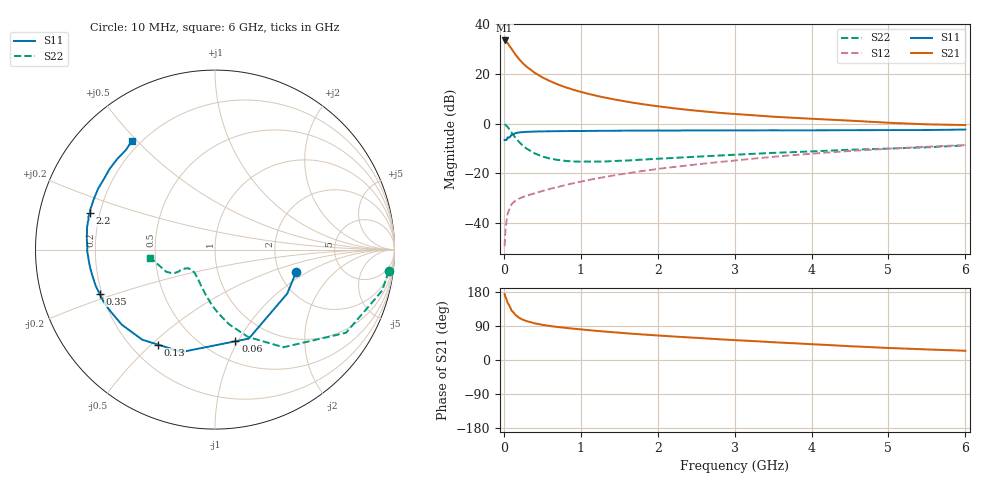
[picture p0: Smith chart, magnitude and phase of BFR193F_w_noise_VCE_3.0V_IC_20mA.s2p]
! Infineon Technologies  Discrete & RF Semiconductors
! BFR193F
! VCE =  3.0 V,  IC =  20 mA
! Common Emitter S-Parameters:  Jan 2017
# GHz  S  MA  R  50
!  f  S11  S21  S12  S22
! GHz  MAG  ANG  MAG  ANG  MAG  ANG  MAG  ANG
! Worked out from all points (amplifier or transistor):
!   77 points, 10 MHz to 6 GHz, reference 50 ohm
!   highest |S21| = 33.5 dB at 10 MHz (marker M1)
!   |S21| within 3 dB of that: start of sweep to 90.93 MHz
!   unconditionally stable (mu >= 1): 1.24 GHz to 2.799 GHz
!   at 130 MHz: K = 0.30, MSG = 30.2 dB, |S12| = -31.6 dB
!   at 2.2 GHz: K = 1.03, MAG = 10.8 dB, |S12| = -17.5 dB
!   at 6 GHz: K = 0.86, MSG = 4.0 dB, |S12| = -8.6 dB
!   lowest NFmin = 1.04 dB at 450 MHz
!   S11 on the Smith chart (normalised r, x): 10 MHz: 2.47, -0.79; 60 MHz: 0.69, -0.98; 130 MHz: 0.31, -0.53; 350 MHz: 0.19, -0.18; 2.2 GHz: 0.16, +0.14; 6 GHz: 0.17, +0.48
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0.01  0.469 -15.4  47.51 173.9  0.0034 82.2  0.9751 -7.1
0.02  0.4713 -31.3  46.4 167.2  0.0066 79.0  0.9588 -13.8
0.05  0.5304 -69.2  41.93 150.5  0.0154 66.4  0.8646 -32.4
0.06  0.5233 -77.5  39.66 147.3  0.017 62.3  0.816 -36.0
0.1  0.6 -108.0  32.22 130.6  0.0238 51.7  0.6644 -55.0
0.13  0.6173 -120.9  27.63 124.3  0.0263 48.6  0.5732 -62.7
0.15  0.6452 -128.9  24.81 118.9  0.028 46.8  0.5199 -69.3
0.2  0.6668 -141.1  19.8 111.2  0.031 44.5  0.4246 -79.2
0.25  0.6765 -149.5  16.3 106.1  0.0333 44.7  0.3559 -86.9
0.3  0.6857 -155.2  13.87 102.3  0.0354 44.8  0.3119 -93.0
0.35  0.6886 -159.1  12.22 99.9  0.0374 46.3  0.2811 -97.3
0.4  0.6946 -163.0  10.61 96.7  0.0394 47.6  0.2522 -102.6
0.5  0.6985 -168.1  8.571 92.9  0.0438 51.0  0.2181 -110.4
0.6  0.703 -171.8  7.197 89.7  0.0486 53.9  0.1978 -116.7
0.8  0.708 -177.1  5.427 84.9  0.0579 58.6  0.1779 -126.6
1.1  0.7139 176.9  3.984 78.8  0.0732 63.2  0.1724 -135.9
2.1  0.7274 164.6  2.147 63.5  0.1279 68.6  0.2 -148.0
2.2  0.7263 163.6  2.05 62.1  0.1334 68.7  0.2037 -148.1
3.1  0.732 155.6  1.53 51.4  0.1874 69.1  0.2407 -149.0
4.1  0.7343 146.5  1.234 40.7  0.2548 66.0  0.2803 -152.5
5.1  0.7425 136.2  1.028 31.0  0.3187 60.8  0.3185 -162.7
6  0.7623 127.3  0.938 24.4  0.3705 55.6  0.365 -173.0
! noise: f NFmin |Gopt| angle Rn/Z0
0.45  1.04  0.33  168  0.06
0.9  1.12  0.39  169  0.07
1.9  1.71  0.57  -171  0.06
2.4  2.01  0.61  -161  0.1
